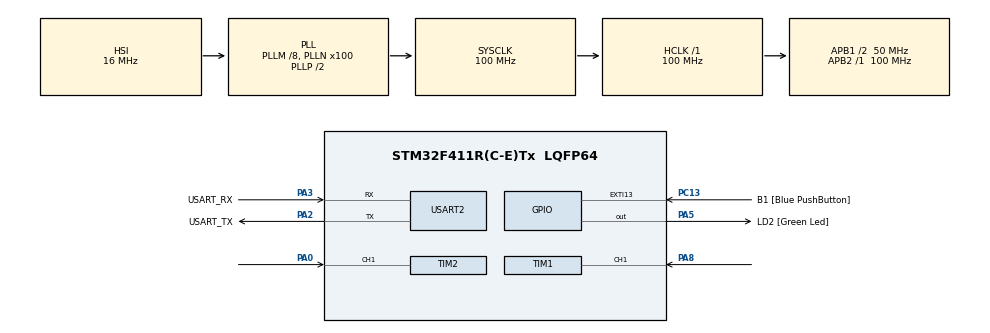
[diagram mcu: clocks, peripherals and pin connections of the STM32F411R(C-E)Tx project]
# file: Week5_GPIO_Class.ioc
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Dma.Request0=TIM1_CH1
Dma.Request1=TIM2_CH1
Dma.TIM1_CH1.0.Direction=DMA_PERIPH_TO_MEMORY
Dma.TIM1_CH1.0.FIFOMode=DMA_FIFOMODE_DISABLE
Dma.TIM1_CH1.0.Instance=DMA2_Stream1
Dma.TIM1_CH1.0.MemDataAlignment=DMA_MDATAALIGN_HALFWORD
Dma.TIM1_CH1.0.MemInc=DMA_MINC_ENABLE
Dma.TIM1_CH1.0.Mode=DMA_CIRCULAR
Dma.TIM1_CH1.0.PeriphDataAlignment=DMA_PDATAALIGN_HALFWORD
Dma.TIM1_CH1.0.PeriphInc=DMA_PINC_DISABLE
Dma.TIM1_CH1.0.Priority=DMA_PRIORITY_LOW
Dma.TIM2_CH1.1.Direction=DMA_PERIPH_TO_MEMORY
Dma.TIM2_CH1.1.FIFOMode=DMA_FIFOMODE_DISABLE
Dma.TIM2_CH1.1.Instance=DMA1_Stream5
Dma.TIM2_CH1.1.MemDataAlignment=DMA_MDATAALIGN_WORD
Dma.TIM2_CH1.1.MemInc=DMA_MINC_ENABLE
Dma.TIM2_CH1.1.Mode=DMA_CIRCULAR
Dma.TIM2_CH1.1.PeriphDataAlignment=DMA_PDATAALIGN_WORD
Dma.TIM2_CH1.1.PeriphInc=DMA_PINC_DISABLE
Dma.TIM2_CH1.1.Priority=DMA_PRIORITY_LOW
Mcu.Family=STM32F4
Mcu.Name=STM32F411R(C-E)Tx
Mcu.Package=LQFP64
NVIC.DMA1_Stream5_IRQn=true\:0\:0\:false\:false\:true\:false\:true
NVIC.DMA2_Stream1_IRQn=true\:0\:0\:false\:false\:true\:false\:true
NVIC.PriorityGroup=NVIC_PRIORITYGROUP_0
NVIC.TIM1_TRG_COM_TIM11_IRQn=true\:0\:0\:false\:false\:true\:true\:true
NVIC.TIM2_IRQn=true\:0\:0\:false\:false\:true\:true\:true
NVIC.TIM5_IRQn=true\:0\:0\:false\:false\:true\:true\:true
PA0-WKUP.Signal=S_TIM2_CH1_ETR
PA13.GPIO_Label=TMS
PA13.Mode=Serial_Wire
PA13.Signal=SYS_JTMS-SWDIO
PA14.GPIO_Label=TCK
PA14.Mode=Serial_Wire
PA14.Signal=SYS_JTCK-SWCLK
PA2.GPIO_Label=USART_TX
PA2.Mode=Asynchronous
PA2.Signal=USART2_TX
PA3.GPIO_Label=USART_RX
PA3.Mode=Asynchronous
PA3.Signal=USART2_RX
PA5.GPIO_Label=LD2 [Green Led]
PA5.Signal=GPIO_Output
PA8.Signal=S_TIM1_CH1
PB3.GPIO_Label=SWO
PB3.Signal=SYS_JTDO-SWO
PC13-ANTI_TAMP.GPIO_Label=B1 [Blue PushButton]
PC13-ANTI_TAMP.GPIO_ModeDefaultEXTI=GPIO_MODE_IT_FALLING
PC13-ANTI_TAMP.Signal=GPXTI13
PC14-OSC32_IN.Mode=LSE-External-Oscillator
PC14-OSC32_IN.Signal=RCC_OSC32_IN
PC15-OSC32_OUT.Mode=LSE-External-Oscillator
PC15-OSC32_OUT.Signal=RCC_OSC32_OUT
PH0\ -\ OSC_IN.Mode=HSE-External-Clock-Source
PH0\ -\ OSC_IN.Signal=RCC_OSC_IN
PH1\ -\ OSC_OUT.Mode=HSE-External-Clock-Source
PH1\ -\ OSC_OUT.Signal=RCC_OSC_OUT
ProjectManager.HeapSize=0x200
ProjectManager.StackSize=0x400
ProjectManager.TargetToolchain=STM32CubeIDE
RCC.48MHZClocksFreq_Value=50000000
RCC.AHBFreq_Value=100000000
RCC.APB1CLKDivider=RCC_HCLK_DIV2
RCC.APB1Freq_Value=50000000
RCC.APB1TimFreq_Value=100000000
RCC.APB2Freq_Value=100000000
RCC.APB2TimFreq_Value=100000000
RCC.CortexFreq_Value=100000000
RCC.FLatency-AdvancedSettings=FLASH_LATENCY_3
RCC.HCLKFreq_Value=100000000
RCC.HSE_VALUE=8000000
RCC.HSI_VALUE=16000000
RCC.PLLM=8
RCC.PLLN=100
RCC.SYSCLKFreq_VALUE=100000000
RCC.SYSCLKSource=RCC_SYSCLKSOURCE_PLLCLK
RCC.VCOOutputFreq_Value=200000000
SH.S_TIM1_CH1.0=TIM1_CH1,Input_Capture1_from_TI1
SH.S_TIM2_CH1_ETR.0=TIM2_CH1,Input_Capture1_from_TI1
TIM1.Channel-Input_Capture1_from_TI1=TIM_CHANNEL_1
TIM1.ICFilter_CH1=2
TIM1.Prescaler=99
TIM11.Prescaler=99
TIM2.Channel-Input_Capture1_from_TI1=TIM_CHANNEL_1
TIM2.Prescaler=99
TIM5.Prescaler=99
USART2.VirtualMode=VM_ASYNC
VP_TIM11_VS_ClockSourceINT.Mode=Enable_Timer
VP_TIM1_VS_ClockSourceINT.Mode=Internal
VP_TIM2_VS_ClockSourceINT.Mode=Internal
VP_TIM5_VS_ClockSourceINT.Mode=Internal
board=NUCLEO-F411RE

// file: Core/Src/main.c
/* USER CODE BEGIN Header */
/**
  ******************************************************************************
  * @file           : main.c
  * @brief          : Main program body
  ******************************************************************************
  * @attention
  *
  * <h2><center>&copy; Copyright (c) 2021 STMicroelectronics.
  * All rights reserved.</center></h2>
  *
  * This software component is licensed by ST under BSD 3-Clause license,
  * the "License"; You may not use this file except in compliance with the
  * License. You may obtain a copy of the License at:
  *                        opensource.org/licenses/BSD-3-Clause
  *
  ******************************************************************************
  */
/* USER CODE END Header */
#include "main.h"

/* USER CODE BEGIN PD */
#define CAPTURENUM 16
/* USER CODE END PD */

TIM_HandleTypeDef htim1;
TIM_HandleTypeDef htim2;
TIM_HandleTypeDef htim5;
TIM_HandleTypeDef htim11;
DMA_HandleTypeDef hdma_tim1_ch1;
DMA_HandleTypeDef hdma_tim2_ch1;

UART_HandleTypeDef huart2;

/* USER CODE BEGIN PV */
uint64_t _micros = 0;
uint32_t capturedata[CAPTURENUM] = {0};
int32_t  DiffTime[CAPTURENUM-1]  = {0};
float    MeanTime = 0;
float rpm=0;

/* USER CODE END PV */

void SystemClock_Config(void);
static void MX_GPIO_Init(void);
static void MX_DMA_Init(void);
static void MX_USART2_UART_Init(void);
static void MX_TIM1_Init(void);
static void MX_TIM11_Init(void);
static void MX_TIM2_Init(void);
static void MX_TIM5_Init(void);
/* USER CODE BEGIN PFP */
void encoderSpeedReaderCycle();
uint64_t micros();

/* USER CODE END PFP */

int main(void)
{

  /* MCU Configuration--------------------------------------------------------*/

  /* Reset of all peripherals, Initializes the Flash interface and the Systick. */
  HAL_Init();

  /* Configure the system clock */
  SystemClock_Config();

  /* Initialize all configured peripherals */
  MX_GPIO_Init();
  MX_DMA_Init();
  MX_USART2_UART_Init();
  MX_TIM1_Init();
  MX_TIM11_Init();
  MX_TIM2_Init();
  MX_TIM5_Init();
  /* USER CODE BEGIN 2 */
  HAL_TIM_Base_Start_IT(&htim2);
  HAL_TIM_IC_Start_DMA(&htim2, TIM_CHANNEL_1, (uint32_t*)capturedata, CAPTURENUM);

  HAL_TIM_Base_Start_IT(&htim5);
  uint64_t timeStamp = 0;

  /* USER CODE END 2 */

  /* Infinite loop */
  /* USER CODE BEGIN WHILE */
  while (1)
  {
	  if( micros()-timeStamp > 100000 )
	  {
		  timeStamp = micros();
		  HAL_GPIO_TogglePin(LD2_GPIO_Port,LD2_Pin);
	  }

	  encoderSpeedReaderCycle();

    /* USER CODE END WHILE */

  }
}

void SystemClock_Config(void)
{
  RCC_OscInitTypeDef RCC_OscInitStruct = {0};
  RCC_ClkInitTypeDef RCC_ClkInitStruct = {0};

  /** Configure the main internal regulator output voltage
  */
  __HAL_RCC_PWR_CLK_ENABLE();
  __HAL_PWR_VOLTAGESCALING_CONFIG(PWR_REGULATOR_VOLTAGE_SCALE1);
  /** Initializes the RCC Oscillators according to the specified parameters
  * in the RCC_OscInitTypeDef structure.
  */
  RCC_OscInitStruct.OscillatorType = RCC_OSCILLATORTYPE_HSI;
  RCC_OscInitStruct.HSIState = RCC_HSI_ON;
  RCC_OscInitStruct.HSICalibrationValue = RCC_HSICALIBRATION_DEFAULT;
  RCC_OscInitStruct.PLL.PLLState = RCC_PLL_ON;
  RCC_OscInitStruct.PLL.PLLSource = RCC_PLLSOURCE_HSI;
  RCC_OscInitStruct.PLL.PLLM = 8;
  RCC_OscInitStruct.PLL.PLLN = 100;
  RCC_OscInitStruct.PLL.PLLP = RCC_PLLP_DIV2;
  RCC_OscInitStruct.PLL.PLLQ = 4;
  if (HAL_RCC_OscConfig(&RCC_OscInitStruct) != HAL_OK)
  {
    Error_Handler();
  }
  /** Initializes the CPU, AHB and APB buses clocks
  */
  RCC_ClkInitStruct.ClockType = RCC_CLOCKTYPE_HCLK|RCC_CLOCKTYPE_SYSCLK
                              |RCC_CLOCKTYPE_PCLK1|RCC_CLOCKTYPE_PCLK2;
  RCC_ClkInitStruct.SYSCLKSource = RCC_SYSCLKSOURCE_PLLCLK;
  RCC_ClkInitStruct.AHBCLKDivider = RCC_SYSCLK_DIV1;
  RCC_ClkInitStruct.APB1CLKDivider = RCC_HCLK_DIV2;
  RCC_ClkInitStruct.APB2CLKDivider = RCC_HCLK_DIV1;

  if (HAL_RCC_ClockConfig(&RCC_ClkInitStruct, FLASH_LATENCY_3) != HAL_OK)
  {
    Error_Handler();
  }
}

static void MX_TIM1_Init(void)
{

  TIM_ClockConfigTypeDef sClockSourceConfig = {0};
  TIM_MasterConfigTypeDef sMasterConfig = {0};
  TIM_IC_InitTypeDef sConfigIC = {0};

  htim1.Instance = TIM1;
  htim1.Init.Prescaler = 99;
  htim1.Init.CounterMode = TIM_COUNTERMODE_UP;
  htim1.Init.Period = 65535;
  htim1.Init.ClockDivision = TIM_CLOCKDIVISION_DIV1;
  htim1.Init.RepetitionCounter = 0;
  htim1.Init.AutoReloadPreload = TIM_AUTORELOAD_PRELOAD_DISABLE;
  if (HAL_TIM_Base_Init(&htim1) != HAL_OK)
  {
    Error_Handler();
  }
  sClockSourceConfig.ClockSource = TIM_CLOCKSOURCE_INTERNAL;
  if (HAL_TIM_ConfigClockSource(&htim1, &sClockSourceConfig) != HAL_OK)
  {
    Error_Handler();
  }
  if (HAL_TIM_IC_Init(&htim1) != HAL_OK)
  {
    Error_Handler();
  }
  sMasterConfig.MasterOutputTrigger = TIM_TRGO_RESET;
  sMasterConfig.MasterSlaveMode = TIM_MASTERSLAVEMODE_DISABLE;
  if (HAL_TIMEx_MasterConfigSynchronization(&htim1, &sMasterConfig) != HAL_OK)
  {
    Error_Handler();
  }
  sConfigIC.ICPolarity = TIM_INPUTCHANNELPOLARITY_RISING;
  sConfigIC.ICSelection = TIM_ICSELECTION_DIRECTTI;
  sConfigIC.ICPrescaler = TIM_ICPSC_DIV1;
  sConfigIC.ICFilter = 2;
  if (HAL_TIM_IC_ConfigChannel(&htim1, &sConfigIC, TIM_CHANNEL_1) != HAL_OK)
  {
    Error_Handler();
  }

}

static void MX_TIM2_Init(void)
{

  TIM_ClockConfigTypeDef sClockSourceConfig = {0};
  TIM_MasterConfigTypeDef sMasterConfig = {0};
  TIM_IC_InitTypeDef sConfigIC = {0};

  htim2.Instance = TIM2;
  htim2.Init.Prescaler = 99;
  htim2.Init.CounterMode = TIM_COUNTERMODE_UP;
  htim2.Init.Period = 4294967295;
  htim2.Init.ClockDivision = TIM_CLOCKDIVISION_DIV1;
  htim2.Init.AutoReloadPreload = TIM_AUTORELOAD_PRELOAD_DISABLE;
  if (HAL_TIM_Base_Init(&htim2) != HAL_OK)
  {
    Error_Handler();
  }
  sClockSourceConfig.ClockSource = TIM_CLOCKSOURCE_INTERNAL;
  if (HAL_TIM_ConfigClockSource(&htim2, &sClockSourceConfig) != HAL_OK)
  {
    Error_Handler();
  }
  if (HAL_TIM_IC_Init(&htim2) != HAL_OK)
  {
    Error_Handler();
  }
  sMasterConfig.MasterOutputTrigger = TIM_TRGO_RESET;
  sMasterConfig.MasterSlaveMode = TIM_MASTERSLAVEMODE_DISABLE;
  if (HAL_TIMEx_MasterConfigSynchronization(&htim2, &sMasterConfig) != HAL_OK)
  {
    Error_Handler();
  }
  sConfigIC.ICPolarity = TIM_INPUTCHANNELPOLARITY_RISING;
  sConfigIC.ICSelection = TIM_ICSELECTION_DIRECTTI;
  sConfigIC.ICPrescaler = TIM_ICPSC_DIV1;
  sConfigIC.ICFilter = 0;
  if (HAL_TIM_IC_ConfigChannel(&htim2, &sConfigIC, TIM_CHANNEL_1) != HAL_OK)
  {
    Error_Handler();
  }

}

static void MX_TIM5_Init(void)
{

  TIM_ClockConfigTypeDef sClockSourceConfig = {0};
  TIM_MasterConfigTypeDef sMasterConfig = {0};

  htim5.Instance = TIM5;
  htim5.Init.Prescaler = 99;
  htim5.Init.CounterMode = TIM_COUNTERMODE_UP;
  htim5.Init.Period = 4294967295;
  htim5.Init.ClockDivision = TIM_CLOCKDIVISION_DIV1;
  htim5.Init.AutoReloadPreload = TIM_AUTORELOAD_PRELOAD_DISABLE;
  if (HAL_TIM_Base_Init(&htim5) != HAL_OK)
  {
    Error_Handler();
  }
  sClockSourceConfig.ClockSource = TIM_CLOCKSOURCE_INTERNAL;
  if (HAL_TIM_ConfigClockSource(&htim5, &sClockSourceConfig) != HAL_OK)
  {
    Error_Handler();
  }
  sMasterConfig.MasterOutputTrigger = TIM_TRGO_RESET;
  sMasterConfig.MasterSlaveMode = TIM_MASTERSLAVEMODE_DISABLE;
  if (HAL_TIMEx_MasterConfigSynchronization(&htim5, &sMasterConfig) != HAL_OK)
  {
    Error_Handler();
  }

}

static void MX_TIM11_Init(void)
{

  htim11.Instance = TIM11;
  htim11.Init.Prescaler = 99;
  htim11.Init.CounterMode = TIM_COUNTERMODE_UP;
  htim11.Init.Period = 65535;
  htim11.Init.ClockDivision = TIM_CLOCKDIVISION_DIV1;
  htim11.Init.AutoReloadPreload = TIM_AUTORELOAD_PRELOAD_DISABLE;
  if (HAL_TIM_Base_Init(&htim11) != HAL_OK)
  {
    Error_Handler();
  }

}

static void MX_USART2_UART_Init(void)
{

  huart2.Instance = USART2;
  huart2.Init.BaudRate = 115200;
  huart2.Init.WordLength = UART_WORDLENGTH_8B;
  huart2.Init.StopBits = UART_STOPBITS_1;
  huart2.Init.Parity = UART_PARITY_NONE;
  huart2.Init.Mode = UART_MODE_TX_RX;
  huart2.Init.HwFlowCtl = UART_HWCONTROL_NONE;
  huart2.Init.OverSampling = UART_OVERSAMPLING_16;
  if (HAL_UART_Init(&huart2) != HAL_OK)
  {
    Error_Handler();
  }

}

static void MX_DMA_Init(void)
{

  /* DMA controller clock enable */
  __HAL_RCC_DMA2_CLK_ENABLE();
  __HAL_RCC_DMA1_CLK_ENABLE();

  /* DMA interrupt init */
  /* DMA1_Stream5_IRQn interrupt configuration */
  HAL_NVIC_SetPriority(DMA1_Stream5_IRQn, 0, 0);
  HAL_NVIC_EnableIRQ(DMA1_Stream5_IRQn);
  /* DMA2_Stream1_IRQn interrupt configuration */
  HAL_NVIC_SetPriority(DMA2_Stream1_IRQn, 0, 0);
  HAL_NVIC_EnableIRQ(DMA2_Stream1_IRQn);

}

static void MX_GPIO_Init(void)
{
  GPIO_InitTypeDef GPIO_InitStruct = {0};

  /* GPIO Ports Clock Enable */
  __HAL_RCC_GPIOC_CLK_ENABLE();
  __HAL_RCC_GPIOH_CLK_ENABLE();
  __HAL_RCC_GPIOA_CLK_ENABLE();
  __HAL_RCC_GPIOB_CLK_ENABLE();

  /*Configure GPIO pin Output Level */
  HAL_GPIO_WritePin(LD2_GPIO_Port, LD2_Pin, GPIO_PIN_RESET);

  /*Configure GPIO pin : B1_Pin */
  GPIO_InitStruct.Pin = B1_Pin;
  GPIO_InitStruct.Mode = GPIO_MODE_IT_FALLING;
  GPIO_InitStruct.Pull = GPIO_NOPULL;
  HAL_GPIO_Init(B1_GPIO_Port, &GPIO_InitStruct);

  /*Configure GPIO pin : LD2_Pin */
  GPIO_InitStruct.Pin = LD2_Pin;
  GPIO_InitStruct.Mode = GPIO_MODE_OUTPUT_PP;
  GPIO_InitStruct.Pull = GPIO_NOPULL;
  GPIO_InitStruct.Speed = GPIO_SPEED_FREQ_LOW;
  HAL_GPIO_Init(LD2_GPIO_Port, &GPIO_InitStruct);

}

/* USER CODE BEGIN 4 */

uint64_t micros()
{
	return _micros + htim5.Instance->CNT;
}

//Overflow Interrupt
void HAL_TIM_PeriodElapsedCallback(TIM_HandleTypeDef *htim)
{
	if(htim == &htim5)
	{
		_micros += 4294967295;
	}
}

void encoderSpeedReaderCycle()
{
	//get DMA Position
	uint32_t CapPos = CAPTURENUM - __HAL_DMA_GET_COUNTER(htim2.hdma[TIM_DMA_ID_CC1]);
	uint32_t sum = 0;

	//calculate diff from all buffer
	for(register int i = 0; i<CAPTURENUM-1; i++)
	{
		DiffTime[i] = capturedata[(CapPos+1+i)%CAPTURENUM] - capturedata[(CapPos+i)%CAPTURENUM];
		//in case of overflow timer
		if(DiffTime[i] < 0)
		{
			DiffTime[i] += 4294967295;
		}

		//sum all 15 diff
		sum += DiffTime[i];
	}
	MeanTime = sum/ (float)(CAPTURENUM-1);
	rpm = 78125/MeanTime;
	//Quiz 78125/[(2^16)-1]=1.192111086
}

/* USER CODE END 4 */

void Error_Handler(void)
{
  __disable_irq();
  while (1)
  {
  }
}

/************************ (C) COPYRIGHT STMicroelectronics *****END OF FILE****/
